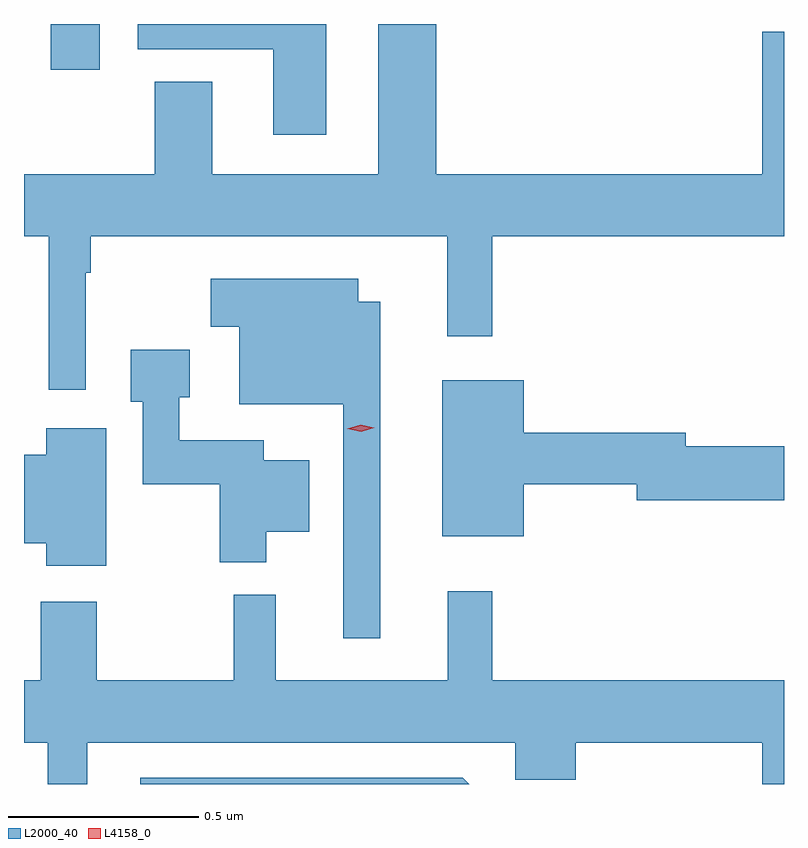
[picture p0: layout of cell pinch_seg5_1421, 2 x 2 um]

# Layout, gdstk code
import gdstk
lib = gdstk.Library(unit=1e-6, precision=1e-09)
def R(c, l, rs):  # rectangles x0, y0, x1, y1
    for r in rs: c.add(gdstk.rectangle(r[:2], r[2:], *l))
def P(c, l, *ps):  # polygons
    for p in ps: c.add(gdstk.Polygon(p, *l))
L2000_40 = (2000, 40)
L4158_0 = (4158, 0)

pinch_seg5_1421 = lib.new_cell('pinch_seg5_1421')
R(pinch_seg5_1421, L2000_40, [(187.111,911.811,187.24,911.931)])
P(pinch_seg5_1421, L2000_40, [(187.837,911.931),(187.34,911.931),(187.34,911.864),(187.697,911.864),(187.697,911.64),(187.837,911.64)],
  [(187.203,911.276),(187.216,911.276),(187.216,911.372),(188.155,911.372),(188.155,911.109),(188.273,911.109),(188.273,911.372),(189.041,911.372),(189.041,911.911),(188.984,911.911),(188.984,911.536),(188.126,911.536),(188.126,911.931),(187.973,911.931),(187.973,911.536),(187.537,911.536),(187.537,911.779),(187.385,911.779),(187.385,911.536),(187.041,911.536),(187.041,911.372),(187.106,911.372),(187.106,910.968),(187.203,910.968)],
  [(187.978,911.2),(187.921,911.2),(187.921,911.26),(187.533,911.26),(187.533,911.134),(187.607,911.134),(187.607,910.931),(187.881,910.931),(187.881,910.314),(187.978,910.314)],
  [(187.678,910.595),(187.792,910.595),(187.792,910.783),(187.672,910.783),(187.672,910.836),(187.45,910.836),(187.45,910.949),(187.477,910.949),(187.477,911.074),(187.322,911.074),(187.322,910.937),(187.353,910.937),(187.353,910.72),(187.556,910.72),(187.556,910.514),(187.678,910.514)],
  [(188.356,910.72),(188.654,910.72),(188.654,910.678),(189.041,910.678),(189.041,910.82),(188.782,910.82),(188.782,910.856),(188.356,910.856),(188.356,910.993),(188.141,910.993),(188.141,910.583),(188.356,910.583)],
  [(187.258,910.867),(187.1,910.867),(187.1,910.798),(187.041,910.798),(187.041,910.565),(187.1,910.565),(187.1,910.506),(187.258,910.506)],
  [(187.207,910.04),(188.334,910.04),(188.334,909.942),(188.493,909.942),(188.493,910.04),(188.984,910.04),(188.984,909.931),(189.041,909.931),(189.041,910.204),(188.273,910.204),(188.273,910.438),(188.156,910.438),(188.156,910.204),(187.703,910.204),(187.703,910.429),(187.593,910.429),(187.593,910.204),(187.233,910.204),(187.233,910.411),(187.085,910.411),(187.085,910.204),(187.041,910.204),(187.041,910.04),(187.103,910.04),(187.103,909.931),(187.207,909.931)],
  [(188.196,909.948),(187.347,909.948),(187.347,909.931),(188.213,909.931)])
P(pinch_seg5_1421, L4158_0, [(187.928,910.858),(187.892,910.866),(187.891,910.866),(187.892,910.866),(187.927,910.877),(187.963,910.869),(187.963,910.869),(187.963,910.869)])

lib.write_gds('pinch_seg5_1421.gds')
